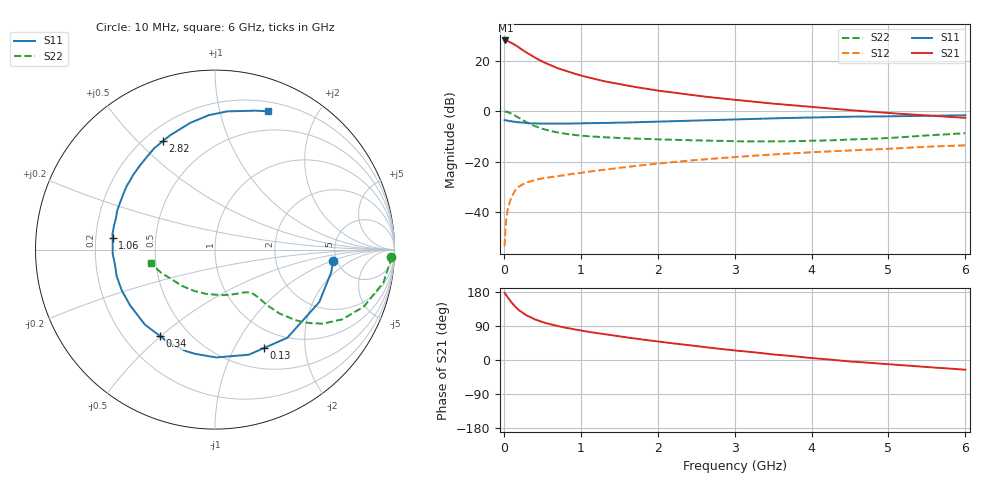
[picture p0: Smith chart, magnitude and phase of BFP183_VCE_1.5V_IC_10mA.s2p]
! Infineon Technologies  Discrete & RF Semiconductors
! BFP183
! VCE = 1.5 V,  IC =  10 mA
! Common Emitter S-Parameters:  Jan 2016
# GHz  S  MA  R  50
!  f  S11  S21  S12  S22
! GHz  MAG  ANG  MAG  ANG  MAG  ANG  MAG  ANG
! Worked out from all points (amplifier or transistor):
!   210 points, 10 MHz to 6 GHz, reference 50 ohm
!   highest |S21| = 28.0 dB at 20 MHz (marker M1)
!   |S21| within 3 dB of that: start of sweep to 207.1 MHz
!   unconditionally stable (mu >= 1): 1.113 GHz to 5.781 GHz
!   at 185 MHz: K = 0.27, MSG = 27.9 dB, |S12| = -30.3 dB
!   at 1.52 GHz: K = 1.13, MAG = 14.3 dB, |S12| = -22.5 dB
!   at 6 GHz: K = 0.97, MSG = 5.5 dB, |S12| = -13.6 dB
!   S11 on the Smith chart (normalised r, x): 10 MHz: 4.66, -1.03; 130 MHz: 0.76, -1.33; 340 MHz: 0.35, -0.50; 1.06 GHz: 0.27, +0.05; 2.82 GHz: 0.27, +0.60; 6 GHz: 0.29, +1.42
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0.01  0.661 -5.4  24.94 177.2  0.0021 86.1  0.9828 -2.3
0.02  0.6596 -11.1  25.08 174.3  0.0044 84.9  0.9766 -4.5
0.06  0.6386 -31.3  23.96 162.6  0.0128 76.2  0.9404 -12.9
0.1  0.6353 -50.6  22.44 151.8  0.0198 67.9  0.8886 -20.9
0.13  0.6127 -63.4  21.06 145.1  0.0241 62.2  0.8384 -25.5
0.15  0.6152 -72.1  20.33 140.1  0.0271 59.5  0.8081 -28.8
0.2  0.6009 -89.4  18.07 130.8  0.0322 53.7  0.7283 -34.5
0.26  0.5884 -105.7  15.61 122.1  0.0361 48.2  0.6452 -39.0
0.34  0.571 -122.3  13.14 113.7  0.0403 44.7  0.5594 -42.5
0.4  0.572 -133.1  11.54 107.3  0.0429 42.6  0.5062 -44.7
0.5  0.5659 -146.6  9.538 100.2  0.0463 40.5  0.4466 -46.3
0.6  0.5672 -156.3  8.193 94.4  0.0489 40.0  0.4045 -47.1
0.8  0.5635 -171.6  6.283 85.1  0.054 40.4  0.3539 -48.1
1.02  0.5721 175.4  4.977 77.1  0.0601 41.5  0.3243 -49.3
1.06  0.5745 173.4  4.806 75.8  0.0614 41.6  0.3204 -49.6
1.5  0.5891 154.8  3.419 62.2  0.0746 43.1  0.2922 -54.3
2.02  0.6182 137.1  2.524 48.4  0.0916 42.2  0.2757 -63.1
2.82  0.671 115.6  1.786 29.1  0.117 38.4  0.2566 -81.8
3.1  0.6894 109.3  1.616 23.4  0.1257 36.8  0.251 -89.6
4.1  0.7528 91.2  1.173 3.5  0.1554 29.6  0.2595 -120.0
5.1  0.7896 78.1  0.894 -12.6  0.1822 23.0  0.2984 -148.0
6  0.8256 68.9  0.735 -25.7  0.2094 15.1  0.3647 -168.2
